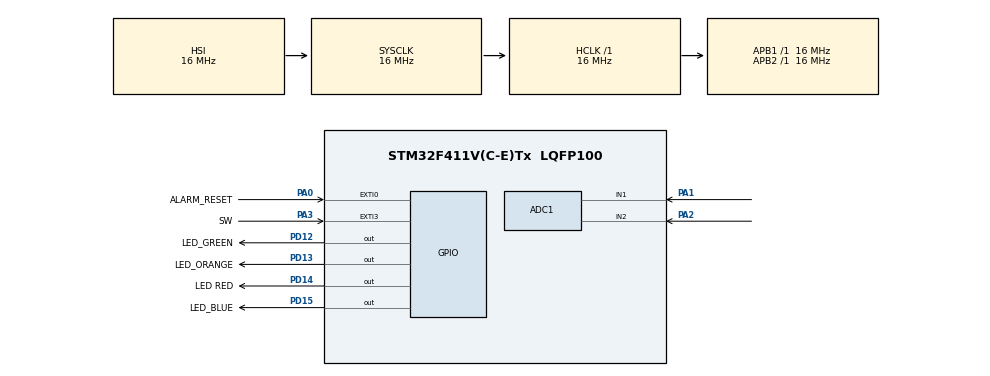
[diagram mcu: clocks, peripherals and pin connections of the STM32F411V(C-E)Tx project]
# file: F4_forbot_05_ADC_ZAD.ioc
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ADC1.Channel-0\#ChannelRegularConversion=ADC_CHANNEL_1
ADC1.Channel-1\#ChannelRegularConversion=ADC_CHANNEL_2
ADC1.Channel-2\#ChannelRegularConversion=ADC_CHANNEL_TEMPSENSOR
ADC1.ClockPrescaler=ADC_CLOCK_SYNC_PCLK_DIV8
ADC1.ContinuousConvMode=ENABLE
ADC1.DMAContinuousRequests=ENABLE
ADC1.NbrOfConversion=3
ADC1.NbrOfConversionFlag=1
ADC1.Rank-0\#ChannelRegularConversion=1
ADC1.Rank-1\#ChannelRegularConversion=2
ADC1.Rank-2\#ChannelRegularConversion=3
ADC1.SamplingTime-0\#ChannelRegularConversion=ADC_SAMPLETIME_480CYCLES
ADC1.SamplingTime-1\#ChannelRegularConversion=ADC_SAMPLETIME_480CYCLES
ADC1.SamplingTime-2\#ChannelRegularConversion=ADC_SAMPLETIME_480CYCLES
ADC1.master=1
Dma.ADC1.0.Direction=DMA_PERIPH_TO_MEMORY
Dma.ADC1.0.FIFOMode=DMA_FIFOMODE_DISABLE
Dma.ADC1.0.Instance=DMA2_Stream0
Dma.ADC1.0.MemDataAlignment=DMA_MDATAALIGN_HALFWORD
Dma.ADC1.0.MemInc=DMA_MINC_ENABLE
Dma.ADC1.0.Mode=DMA_CIRCULAR
Dma.ADC1.0.PeriphDataAlignment=DMA_PDATAALIGN_HALFWORD
Dma.ADC1.0.PeriphInc=DMA_PINC_DISABLE
Dma.ADC1.0.Priority=DMA_PRIORITY_LOW
Dma.Request0=ADC1
Mcu.Family=STM32F4
Mcu.Name=STM32F411V(C-E)Tx
Mcu.Package=LQFP100
NVIC.DMA2_Stream0_IRQn=true\:0\:0\:true\:false\:true\:false\:true
NVIC.EXTI0_IRQn=true\:1\:0\:true\:false\:true\:true\:true
NVIC.EXTI3_IRQn=true\:1\:0\:true\:false\:true\:true\:true
NVIC.PriorityGroup=NVIC_PRIORITYGROUP_4
PA0-WKUP.GPIO_Label=ALARM_RESET
PA0-WKUP.GPIO_ModeDefaultEXTI=GPIO_MODE_IT_RISING
PA0-WKUP.GPIO_PuPd=GPIO_NOPULL
PA0-WKUP.Signal=GPXTI0
PA1.Signal=ADCx_IN1
PA2.Signal=ADCx_IN2
PA3.GPIO_Label=SW
PA3.GPIO_ModeDefaultEXTI=GPIO_MODE_IT_FALLING
PA3.GPIO_PuPd=GPIO_PULLUP
PA3.Signal=GPXTI3
PD12.GPIO_Label=LED_GREEN
PD12.Signal=GPIO_Output
PD13.GPIO_Label=LED_ORANGE
PD13.Signal=GPIO_Output
PD14.GPIO_Label=LED RED
PD14.Signal=GPIO_Output
PD15.GPIO_Label=LED_BLUE
PD15.Signal=GPIO_Output
ProjectManager.HeapSize=0x200
ProjectManager.StackSize=0x400
ProjectManager.TargetToolchain=SW4STM32
RCC.AHBFreq_Value=16000000
RCC.APB1Freq_Value=16000000
RCC.APB2Freq_Value=16000000
RCC.CortexFreq_Value=16000000
RCC.HSE_VALUE=25000000
RCC.HSI_VALUE=16000000
RCC.LSE_VALUE=32768
RCC.SYSCLKFreq_VALUE=16000000
RCC.VCOOutputFreq_Value=192000000
SH.ADCx_IN1.0=ADC1_IN1,IN1
SH.ADCx_IN2.0=ADC1_IN2,IN2
VP_ADC1_TempSens_Input.Mode=IN-TempSens
board=custom

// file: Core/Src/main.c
/* USER CODE BEGIN Header */
/**
  ******************************************************************************
  * @file           : main.c
  * @brief          : Main program body
  ******************************************************************************
  * @attention
  *
  * <h2><center>&copy; Copyright (c) 2021 STMicroelectronics.
  * All rights reserved.</center></h2>
  *
  * This software component is licensed by ST under BSD 3-Clause license,
  * the "License"; You may not use this file except in compliance with the
  * License. You may obtain a copy of the License at:
  *                        opensource.org/licenses/BSD-3-Clause
  *
  ******************************************************************************
  */
/* USER CODE END Header */
#include "main.h"

//zadanie sterowanie joystickiem + reverse work + alarm temperaturowy

/* USER CODE BEGIN Includes */
#include <stdbool.h>

/* USER CODE END Includes */

ADC_HandleTypeDef hadc1;
DMA_HandleTypeDef hdma_adc1;

/* USER CODE BEGIN PV */

uint16_t joystick[3];
uint16_t AlarmSet = RESET;
uint16_t ReverseWork = RESET;

/* USER CODE END PV */

void SystemClock_Config(void);
static void MX_GPIO_Init(void);
static void MX_DMA_Init(void);
static void MX_ADC1_Init(void);
void AlarmFunction(void);
/* USER CODE BEGIN PFP */

void HAL_GPIO_EXTI_Callback(uint16_t GPIO_Pin){
	HAL_Delay(100);
	if (HAL_GPIO_ReadPin(GPIOA,SW_Pin) == GPIO_PIN_RESET){
		if (ReverseWork == SET){
			ReverseWork = RESET;
		}
		else{
			ReverseWork = SET;
		}
	}

}

/* USER CODE END PFP */

int main(void)
{

  /* MCU Configuration--------------------------------------------------------*/

  /* Reset of all peripherals, Initializes the Flash interface and the Systick. */
  HAL_Init();

  /* Configure the system clock */
  SystemClock_Config();

  /* Initialize all configured peripherals */
  MX_GPIO_Init();
  MX_DMA_Init();
  MX_ADC1_Init();
  /* USER CODE BEGIN 2 */

  HAL_ADC_Start_DMA(&hadc1,joystick,3);

  /* USER CODE END 2 */

  /* Infinite loop */
  while (1)
  {

    /* USER CODE BEGIN 3 */
	 if (ReverseWork != SET)
	 {
		 //X - axis
		 if( joystick[0] < 0.25*4095 ){	//jezeli powyzej 0.25% wychylenia zapal
			 HAL_GPIO_WritePin(GPIOD, LED_GREEN_Pin, GPIO_PIN_SET);
		 }
		 else{
			 HAL_GPIO_WritePin(GPIOD, LED_GREEN_Pin, GPIO_PIN_RESET);
		 }
		 if( joystick[0] > 0.75*4095 ){
			 HAL_GPIO_WritePin(GPIOD, LED_RED_Pin, GPIO_PIN_SET);
		 }
		 else{
			 HAL_GPIO_WritePin(GPIOD, LED_RED_Pin, GPIO_PIN_RESET);
		 }
		 //Y - axis
		 if( joystick[1] > 0.75*4095 ){
			 HAL_GPIO_WritePin(GPIOD, LED_BLUE_Pin, GPIO_PIN_SET);
		 }
		 else{
			HAL_GPIO_WritePin(GPIOD, LED_BLUE_Pin, GPIO_PIN_RESET);
		 }
		 if( joystick[1] < 0.25*4095 ){
			HAL_GPIO_WritePin(GPIOD, LED_ORANGE_Pin, GPIO_PIN_SET);
		 }
		 else{
			HAL_GPIO_WritePin(GPIOD, LED_ORANGE_Pin, GPIO_PIN_RESET);
		 }
	 }
	 else
	 {
		 //X - axis
		 if( joystick[0] > 0.75*4095 ){
		 	HAL_GPIO_WritePin(GPIOD, LED_GREEN_Pin, GPIO_PIN_SET);
		 }
		 else{
		 	HAL_GPIO_WritePin(GPIOD, LED_GREEN_Pin, GPIO_PIN_RESET);
		 }

		 if( joystick[0] < 0.25*4095 ){
		 	HAL_GPIO_WritePin(GPIOD, LED_RED_Pin, GPIO_PIN_SET);
		 }
		 else{
			 HAL_GPIO_WritePin(GPIOD, LED_RED_Pin, GPIO_PIN_RESET);
		 }
		 //Y - axis
		 if( joystick[1] < 0.25*4095 ){
		 	HAL_GPIO_WritePin(GPIOD, LED_BLUE_Pin, GPIO_PIN_SET);
		 }
		 else{
		 	HAL_GPIO_WritePin(GPIOD, LED_BLUE_Pin, GPIO_PIN_RESET);
		 }
		 if( joystick[1] > 0.75*4095 ){
		 	HAL_GPIO_WritePin(GPIOD, LED_ORANGE_Pin, GPIO_PIN_SET);
		 }
		 else{
		 	HAL_GPIO_WritePin(GPIOD, LED_ORANGE_Pin, GPIO_PIN_RESET);
		 }
	 }
	 if (joystick[2] > 1045 ){
		 AlarmFunction();
	 }
  }

  /* USER CODE END 3 */
}

void SystemClock_Config(void)
{
  RCC_OscInitTypeDef RCC_OscInitStruct = {0};
  RCC_ClkInitTypeDef RCC_ClkInitStruct = {0};

  /** Configure the main internal regulator output voltage
  */
  __HAL_RCC_PWR_CLK_ENABLE();
  __HAL_PWR_VOLTAGESCALING_CONFIG(PWR_REGULATOR_VOLTAGE_SCALE1);
  /** Initializes the RCC Oscillators according to the specified parameters
  * in the RCC_OscInitTypeDef structure.
  */
  RCC_OscInitStruct.OscillatorType = RCC_OSCILLATORTYPE_HSI;
  RCC_OscInitStruct.HSIState = RCC_HSI_ON;
  RCC_OscInitStruct.HSICalibrationValue = RCC_HSICALIBRATION_DEFAULT;
  RCC_OscInitStruct.PLL.PLLState = RCC_PLL_NONE;
  if (HAL_RCC_OscConfig(&RCC_OscInitStruct) != HAL_OK)
  {
    Error_Handler();
  }
  /** Initializes the CPU, AHB and APB buses clocks
  */
  RCC_ClkInitStruct.ClockType = RCC_CLOCKTYPE_HCLK|RCC_CLOCKTYPE_SYSCLK
                              |RCC_CLOCKTYPE_PCLK1|RCC_CLOCKTYPE_PCLK2;
  RCC_ClkInitStruct.SYSCLKSource = RCC_SYSCLKSOURCE_HSI;
  RCC_ClkInitStruct.AHBCLKDivider = RCC_SYSCLK_DIV1;
  RCC_ClkInitStruct.APB1CLKDivider = RCC_HCLK_DIV1;
  RCC_ClkInitStruct.APB2CLKDivider = RCC_HCLK_DIV1;

  if (HAL_RCC_ClockConfig(&RCC_ClkInitStruct, FLASH_LATENCY_0) != HAL_OK)
  {
    Error_Handler();
  }
}

static void MX_ADC1_Init(void)
{

  ADC_ChannelConfTypeDef sConfig = {0};

  /** Configure the global features of the ADC (Clock, Resolution, Data Alignment and number of conversion)
  */
  hadc1.Instance = ADC1;
  hadc1.Init.ClockPrescaler = ADC_CLOCK_SYNC_PCLK_DIV8;
  hadc1.Init.Resolution = ADC_RESOLUTION_12B;
  hadc1.Init.ScanConvMode = ENABLE;
  hadc1.Init.ContinuousConvMode = ENABLE;
  hadc1.Init.DiscontinuousConvMode = DISABLE;
  hadc1.Init.ExternalTrigConvEdge = ADC_EXTERNALTRIGCONVEDGE_NONE;
  hadc1.Init.ExternalTrigConv = ADC_SOFTWARE_START;
  hadc1.Init.DataAlign = ADC_DATAALIGN_RIGHT;
  hadc1.Init.NbrOfConversion = 3;
  hadc1.Init.DMAContinuousRequests = ENABLE;
  hadc1.Init.EOCSelection = ADC_EOC_SINGLE_CONV;
  if (HAL_ADC_Init(&hadc1) != HAL_OK)
  {
    Error_Handler();
  }
  /** Configure for the selected ADC regular channel its corresponding rank in the sequencer and its sample time.
  */
  sConfig.Channel = ADC_CHANNEL_1;
  sConfig.Rank = 1;
  sConfig.SamplingTime = ADC_SAMPLETIME_480CYCLES;
  if (HAL_ADC_ConfigChannel(&hadc1, &sConfig) != HAL_OK)
  {
    Error_Handler();
  }
  /** Configure for the selected ADC regular channel its corresponding rank in the sequencer and its sample time.
  */
  sConfig.Channel = ADC_CHANNEL_2;
  sConfig.Rank = 2;
  if (HAL_ADC_ConfigChannel(&hadc1, &sConfig) != HAL_OK)
  {
    Error_Handler();
  }
  /** Configure for the selected ADC regular channel its corresponding rank in the sequencer and its sample time.
  */
  sConfig.Channel = ADC_CHANNEL_TEMPSENSOR;
  sConfig.Rank = 3;
  if (HAL_ADC_ConfigChannel(&hadc1, &sConfig) != HAL_OK)
  {
    Error_Handler();
  }

}

static void MX_DMA_Init(void)
{

  /* DMA controller clock enable */
  __HAL_RCC_DMA2_CLK_ENABLE();

  /* DMA interrupt init */
  /* DMA2_Stream0_IRQn interrupt configuration */
  HAL_NVIC_SetPriority(DMA2_Stream0_IRQn, 0, 0);
  HAL_NVIC_EnableIRQ(DMA2_Stream0_IRQn);

}

static void MX_GPIO_Init(void)
{
  GPIO_InitTypeDef GPIO_InitStruct = {0};

  /* GPIO Ports Clock Enable */
  __HAL_RCC_GPIOA_CLK_ENABLE();
  __HAL_RCC_GPIOD_CLK_ENABLE();

  /*Configure GPIO pin Output Level */
  HAL_GPIO_WritePin(GPIOD, LED_GREEN_Pin|LED_ORANGE_Pin|LED_RED_Pin|LED_BLUE_Pin, GPIO_PIN_RESET);

  /*Configure GPIO pin : ALARM_RESET_Pin */
  GPIO_InitStruct.Pin = ALARM_RESET_Pin;
  GPIO_InitStruct.Mode = GPIO_MODE_IT_RISING;
  GPIO_InitStruct.Pull = GPIO_NOPULL;
  HAL_GPIO_Init(ALARM_RESET_GPIO_Port, &GPIO_InitStruct);

  /*Configure GPIO pin : SW_Pin */
  GPIO_InitStruct.Pin = SW_Pin;
  GPIO_InitStruct.Mode = GPIO_MODE_IT_FALLING;
  GPIO_InitStruct.Pull = GPIO_PULLUP;
  HAL_GPIO_Init(SW_GPIO_Port, &GPIO_InitStruct);

  /*Configure GPIO pins : LED_GREEN_Pin LED_ORANGE_Pin LED_RED_Pin LED_BLUE_Pin */
  GPIO_InitStruct.Pin = LED_GREEN_Pin|LED_ORANGE_Pin|LED_RED_Pin|LED_BLUE_Pin;
  GPIO_InitStruct.Mode = GPIO_MODE_OUTPUT_PP;
  GPIO_InitStruct.Pull = GPIO_NOPULL;
  GPIO_InitStruct.Speed = GPIO_SPEED_FREQ_LOW;
  HAL_GPIO_Init(GPIOD, &GPIO_InitStruct);

  /* EXTI interrupt init*/
  HAL_NVIC_SetPriority(EXTI0_IRQn, 1, 0);
  HAL_NVIC_EnableIRQ(EXTI0_IRQn);

  HAL_NVIC_SetPriority(EXTI3_IRQn, 1, 0);
  HAL_NVIC_EnableIRQ(EXTI3_IRQn);

}

/* USER CODE BEGIN 4 */

void AlarmFunction(void)
{
	while(1){
		HAL_GPIO_TogglePin(GPIOD,LED_GREEN_Pin|LED_ORANGE_Pin|LED_RED_Pin|LED_BLUE_Pin);
		HAL_Delay(100);
		if (HAL_GPIO_ReadPin(ALARM_RESET_GPIO_Port,ALARM_RESET_Pin) == SET){
			break;
		}
	}

}

/* USER CODE END 4 */

void Error_Handler(void)
{
  __disable_irq();
  while (1)
  {
  }
}

/************************ (C) COPYRIGHT STMicroelectronics *****END OF FILE****/
